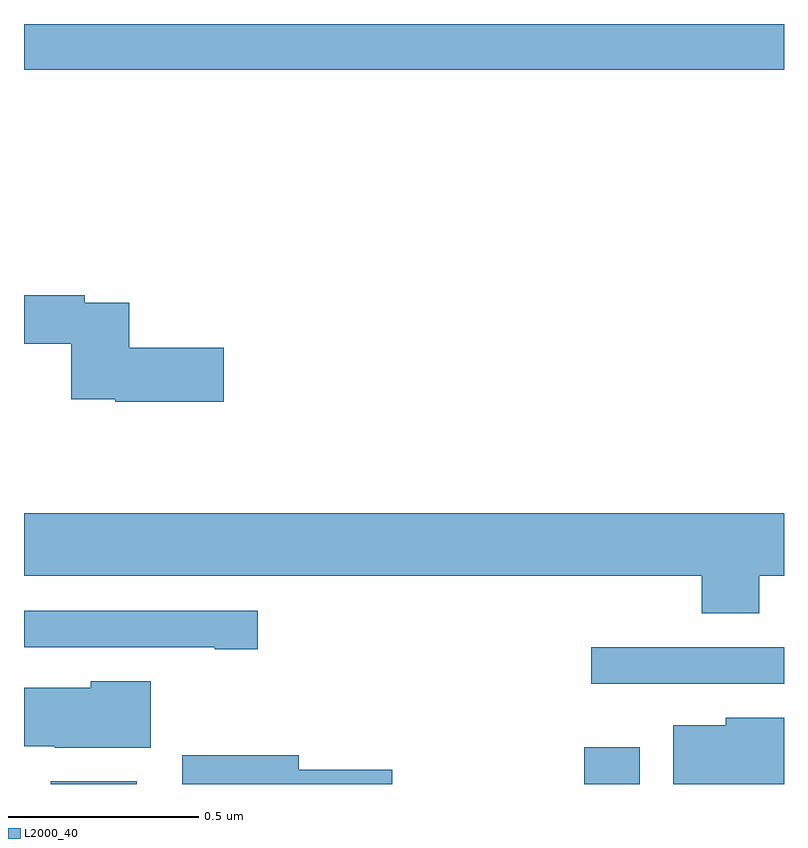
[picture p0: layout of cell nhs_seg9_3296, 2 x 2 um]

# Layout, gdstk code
import gdstk
lib = gdstk.Library(unit=1e-6, precision=1e-09)
def R(c, l, rs):  # rectangles x0, y0, x1, y1
    for r in rs: c.add(gdstk.rectangle(r[:2], r[2:], *l))
def P(c, l, *ps):  # polygons
    for p in ps: c.add(gdstk.Polygon(p, *l))
L2000_40 = (2000, 40)

nhs_seg9_3296 = lib.new_cell('nhs_seg9_3296')
R(nhs_seg9_3296, L2000_40, [(151.07,1234.5,151.297,1234.507), (152.474,1234.5,152.62,1234.597), (152.493,1234.764,153,1234.86), (151,1236.38,153,1236.5)])
P(nhs_seg9_3296, L2000_40, [(151.525,1235.648),(151.277,1235.648),(151.277,1235.766),(151.16,1235.766),(151.16,1235.786),(151,1235.786),(151,1235.658),(151.124,1235.658),(151.124,1235.513),(151.24,1235.513),(151.24,1235.506),(151.525,1235.506)],
  [(152.935,1235.048),(153,1235.048),(153,1235.212),(151,1235.212),(151,1235.048),(152.783,1235.048),(152.783,1234.949),(152.935,1234.949)],
  [(151.615,1234.956),(151,1234.956),(151,1234.86),(151.502,1234.86),(151.502,1234.855),(151.615,1234.855)],
  [(151.333,1234.771),(151.176,1234.771),(151.176,1234.753),(151,1234.753),(151,1234.599),(151.081,1234.599),(151.081,1234.595),(151.333,1234.595)],
  [(153,1234.675),(152.847,1234.675),(152.847,1234.654),(152.708,1234.654),(152.708,1234.5),(153,1234.5)],
  [(151.969,1234.538),(151.723,1234.538),(151.723,1234.576),(151.416,1234.576),(151.416,1234.5),(151.969,1234.5)])

lib.write_gds('nhs_seg9_3296.gds')
